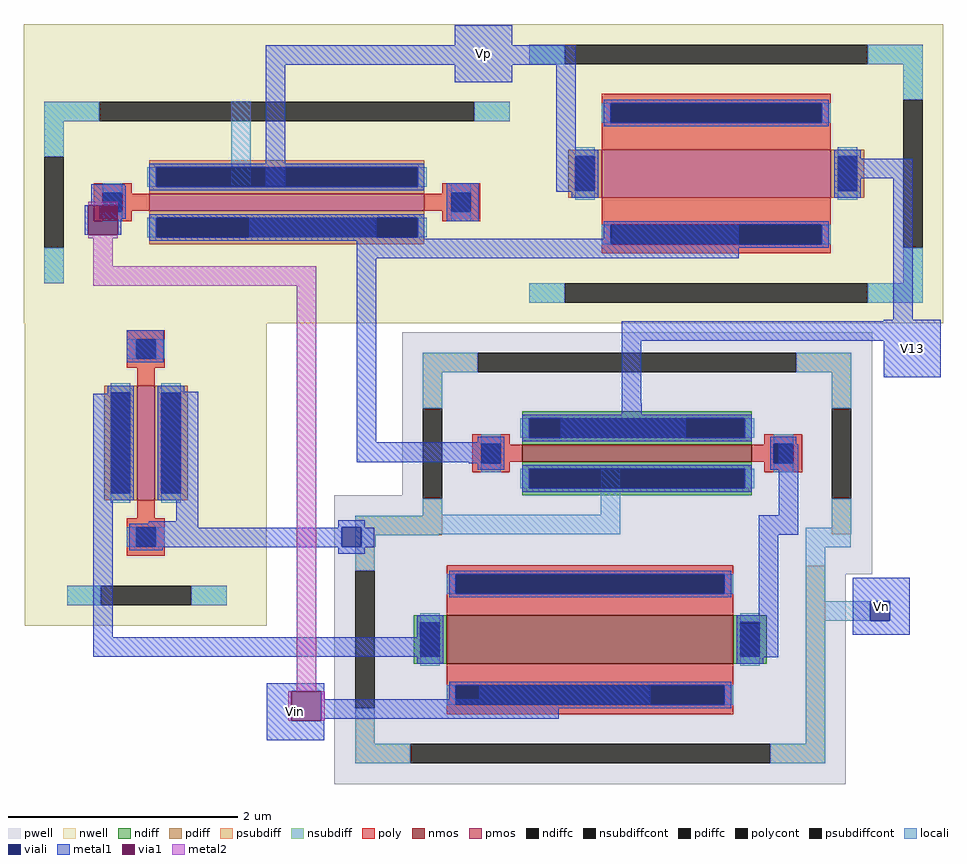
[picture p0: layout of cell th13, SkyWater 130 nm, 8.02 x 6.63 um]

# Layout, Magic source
magic
tech sky130A
magscale 1 2
<< nwell >>
rect 438 536 1266 646
<< psubdiff >>
rect 1016 -303 1050 -231
<< locali >>
rect 800 362 834 511
rect 1445 -210 1479 -131
rect 1027 -266 1052 -232
rect 1134 -244 1479 -210
rect 1802 -395 1915 -361
<< viali >>
rect 993 -266 1027 -232
rect 1915 -395 1949 -361
<< metal1 >>
rect 1190 609 1290 644
rect 860 575 1401 609
rect 556 330 614 366
rect 860 364 894 575
rect 1190 544 1290 575
rect 1367 425 1401 575
rect 544 278 550 330
rect 602 314 614 330
rect 602 278 608 314
rect 831 275 1053 309
rect 1176 302 1232 368
rect 1367 353 1433 425
rect 1859 411 1893 417
rect 1859 377 1989 411
rect 1859 357 1893 377
rect 1019 271 1053 275
rect 1465 271 1685 299
rect 1019 237 1685 271
rect 618 56 682 112
rect 708 3 742 4
rect 559 -173 625 1
rect 679 -173 742 3
rect 1019 -84 1053 237
rect 1955 130 1989 377
rect 1938 127 2038 130
rect 1481 93 2038 127
rect 1481 -16 1515 93
rect 1938 30 2038 93
rect 1481 -41 1516 -16
rect 1375 -75 1593 -41
rect 1482 -76 1516 -75
rect 1019 -85 1252 -84
rect 1019 -119 1271 -85
rect 1214 -120 1248 -119
rect 559 -424 593 -173
rect 707 -178 742 -173
rect 704 -222 742 -178
rect 1755 -211 1789 -87
rect 656 -233 742 -222
rect 987 -232 1033 -220
rect 987 -233 993 -232
rect 631 -266 993 -233
rect 1027 -233 1033 -232
rect 1027 -266 1049 -233
rect 631 -267 1049 -266
rect 1720 -245 1789 -211
rect 987 -278 1033 -267
rect 1131 -424 1165 -399
rect 1720 -401 1754 -245
rect 559 -458 1165 -424
rect 1687 -459 1754 -401
rect 1884 -361 1984 -320
rect 1884 -395 1915 -361
rect 1949 -395 1984 -361
rect 1884 -420 1984 -395
rect 862 -518 962 -504
rect 862 -570 905 -518
rect 957 -532 962 -518
rect 1233 -532 1531 -507
rect 957 -541 1531 -532
rect 957 -566 1371 -541
rect 957 -570 962 -566
rect 862 -604 962 -570
<< via1 >>
rect 550 278 602 330
rect 905 -570 957 -518
<< metal2 >>
rect 550 330 602 336
rect 550 272 602 278
rect 559 223 593 272
rect 559 189 948 223
rect 914 -518 948 189
rect 899 -570 905 -518
rect 957 -570 963 -518
use sky130_fd_pr__pfet_01v8_XGS3BL  XM0
transform -1 0 651 0 -1 -85
box -211 -319 211 319
use sky130_fd_pr__nfet_01v8_ZFRTVB  XM1
transform 1 0 1426 0 1 -428
box -446 -252 456 252
use sky130_fd_pr__pfet_01v8_XQZLDL  XM2
transform 0 -1 897 1 0 335
box -211 -459 211 459
use sky130_fd_pr__pfet_01v8_VZ9GC6  XM3
transform 1 0 1646 0 1 385
box -396 -261 396 261
use sky130_fd_pr__nfet_01v8_ATLS57  XM4
transform 0 -1 1508 1 0 -103
box -211 -410 211 410
<< labels >>
flabel metal1 1938 30 2038 130 0 FreeSans 256 0 0 0 V13
port 1 nsew
flabel metal1 1884 -420 1984 -320 0 FreeSans 256 0 0 0 Vn
port 3 nsew
flabel metal1 1190 544 1290 644 0 FreeSans 256 0 0 0 Vp
port 0 nsew
flabel metal1 862 -604 962 -504 0 FreeSans 256 0 0 0 Vin
port 2 nsew
<< end >>

# cell sky130_fd_pr__pfet_01v8_XGS3BL: kit device sky130_fd_pr__pfet_01v8, w 1.0 l 0.15 m 1 nf 1 diffcov 100 polycov 100 guard 1 glc 1 grc 1 gtc 1 gbc 1 tbcov 100 rlcov 100 topc 1 botc 1 poverlap 0 doverlap 1 lmin 0.15 wmin 0.42 compatible {sky130_fd_pr__pfet_01v8 sky130_fd_pr__pfet_01v8_lvt sky130_fd_pr__pfet_01v8_hvt sky130_fd_pr__pfet_g5v0d10v5} full_metal 1 viasrc 100 viadrn 100 viagate 100 viagb 0 viagr 0 viagl 0 viagt 0

# cell sky130_fd_pr__nfet_01v8_ZFRTVB: kit device sky130_fd_pr__nfet_01v8, w 0.42 l 2.5 m 1 nf 1 diffcov 100 polycov 100 guard 1 glc 1 grc 1 gtc 1 gbc 1 tbcov 100 rlcov 100 topc 1 botc 1 poverlap 0 doverlap 1 lmin 0.15 wmin 0.42 compatible {sky130_fd_pr__nfet_01v8 sky130_fd_pr__nfet_01v8_lvt sky130_fd_bs_flash__special_sonosfet_star sky130_fd_pr__nfet_g5v0d10v5 sky130_fd_pr__nfet_05v0_nvt sky130_fd_pr__nfet_03v3_nvt} full_metal 1 viasrc 100 viadrn 100 viagate 100 viagb 0 viagr 0 viagl 0 viagt 0

# cell sky130_fd_pr__pfet_01v8_XQZLDL: kit device sky130_fd_pr__pfet_01v8, w 2.4 l 0.15 m 1 nf 1 diffcov 100 polycov 100 guard 1 glc 1 grc 1 gtc 1 gbc 1 tbcov 100 rlcov 100 topc 1 botc 1 poverlap 0 doverlap 1 lmin 0.15 wmin 0.42 compatible {sky130_fd_pr__pfet_01v8 sky130_fd_pr__pfet_01v8_lvt sky130_fd_pr__pfet_01v8_hvt sky130_fd_pr__pfet_g5v0d10v5} full_metal 1 viasrc 100 viadrn 100 viagate 100 viagb 0 viagr 0 viagl 0 viagt 0

# cell sky130_fd_pr__pfet_01v8_VZ9GC6: kit device sky130_fd_pr__pfet_01v8, w 0.42 l 2.0 m 1 nf 1 diffcov 100 polycov 100 guard 1 glc 1 grc 1 gtc 1 gbc 1 tbcov 100 rlcov 100 topc 1 botc 1 poverlap 0 doverlap 1 lmin 0.15 wmin 0.42 compatible {sky130_fd_pr__pfet_01v8 sky130_fd_pr__pfet_01v8_lvt sky130_fd_pr__pfet_01v8_hvt sky130_fd_pr__pfet_g5v0d10v5} full_metal 1 viasrc 100 viadrn 100 viagate 100 viagb 0 viagr 0 viagl 0 viagt 0

# cell sky130_fd_pr__nfet_01v8_ATLS57: kit device sky130_fd_pr__nfet_01v8, w 2.0 l 0.15 m 1 nf 1 diffcov 100 polycov 100 guard 1 glc 1 grc 1 gtc 1 gbc 1 tbcov 100 rlcov 100 topc 1 botc 1 poverlap 0 doverlap 1 lmin 0.15 wmin 0.42 compatible {sky130_fd_pr__nfet_01v8 sky130_fd_pr__nfet_01v8_lvt sky130_fd_bs_flash__special_sonosfet_star sky130_fd_pr__nfet_g5v0d10v5 sky130_fd_pr__nfet_05v0_nvt sky130_fd_pr__nfet_03v3_nvt} full_metal 1 viasrc 100 viadrn 100 viagate 100 viagb 0 viagr 0 viagl 0 viagt 0
